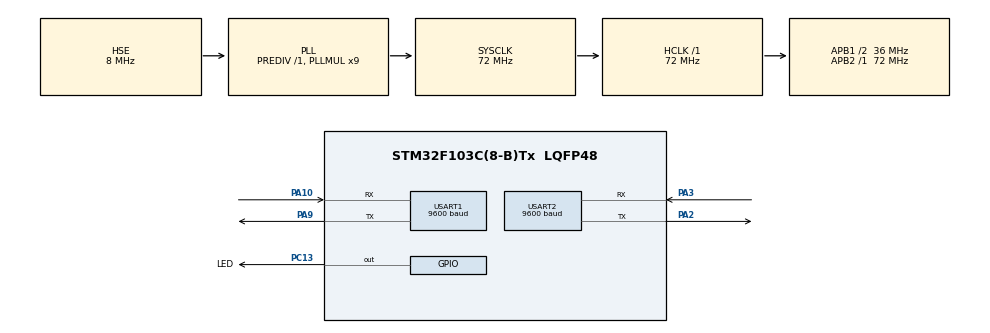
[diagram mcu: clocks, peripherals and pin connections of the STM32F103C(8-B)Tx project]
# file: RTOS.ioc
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FREERTOS.BinarySemaphores01=PasswordSemaphore,Dynamic,NULL
FREERTOS.Queues01=PasswordQueue,10,uint8_t,0,Dynamic,NULL,NULL
FREERTOS.Tasks01=Confirmation,27,128,Confirmation_T,Default,NULL,Dynamic,NULL,NULL;Display,10,128,Display_T,Default,NULL,Dynamic,NULL,NULL;Input,8,128,Input_T,Default,NULL,Dynamic,NULL,NULL
Mcu.Family=STM32F1
Mcu.Name=STM32F103C(8-B)Tx
Mcu.Package=LQFP48
NVIC.PriorityGroup=NVIC_PRIORITYGROUP_4
NVIC.TIM1_UP_IRQn=true\:15\:0\:false\:false\:true\:false\:false\:true\:true
NVIC.TimeBase=TIM1_UP_IRQn
NVIC.TimeBaseIP=TIM1
PA10.Mode=Asynchronous
PA10.Signal=USART1_RX
PA13.Mode=Serial_Wire
PA13.Signal=SYS_JTMS-SWDIO
PA14.Mode=Serial_Wire
PA14.Signal=SYS_JTCK-SWCLK
PA2.Mode=Asynchronous
PA2.Signal=USART2_TX
PA3.Mode=Asynchronous
PA3.Signal=USART2_RX
PA9.Mode=Asynchronous
PA9.Signal=USART1_TX
PC13-TAMPER-RTC.GPIO_Label=LED
PC13-TAMPER-RTC.Signal=GPIO_Output
PD0-OSC_IN.Mode=HSE-External-Oscillator
PD0-OSC_IN.Signal=RCC_OSC_IN
PD1-OSC_OUT.Mode=HSE-External-Oscillator
PD1-OSC_OUT.Signal=RCC_OSC_OUT
ProjectManager.HeapSize=0x200
ProjectManager.StackSize=0x400
ProjectManager.TargetToolchain=STM32CubeIDE
RCC.AHBFreq_Value=72000000
RCC.APB1CLKDivider=RCC_HCLK_DIV2
RCC.APB1Freq_Value=36000000
RCC.APB1TimFreq_Value=72000000
RCC.APB2Freq_Value=72000000
RCC.APB2TimFreq_Value=72000000
RCC.HCLKFreq_Value=72000000
RCC.PLLMUL=RCC_PLL_MUL9
RCC.PLLSourceVirtual=RCC_PLLSOURCE_HSE
RCC.SYSCLKFreq_VALUE=72000000
RCC.SYSCLKSource=RCC_SYSCLKSOURCE_PLLCLK
RCC.USBFreq_Value=72000000
USART1.BaudRate=9600
USART1.VirtualMode=VM_ASYNC
USART2.BaudRate=9600
USART2.VirtualMode=VM_ASYNC
VP_FREERTOS_VS_CMSIS_V2.Mode=CMSIS_V2
VP_SYS_VS_tim1.Mode=TIM1
board=custom

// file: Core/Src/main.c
/* USER CODE BEGIN Header */
/**
  ******************************************************************************
  * @file           : main.c
  * @brief          : Main program body
  ******************************************************************************
  * @attention
  *
  * Copyright (c) 2024 STMicroelectronics.
  * All rights reserved.
  *
  * This software is licensed under terms that can be found in the LICENSE file
  * in the root directory of this software component.
  * If no LICENSE file comes with this software, it is provided AS-IS.
  *
  ******************************************************************************
  */
/* USER CODE END Header */
#include "main.h"
#include "cmsis_os.h"
#include "usart.h"
#include "gpio.h"

void SystemClock_Config(void);
void MX_FREERTOS_Init(void);

int main(void)
{

  /* MCU Configuration--------------------------------------------------------*/

  /* Reset of all peripherals, Initializes the Flash interface and the Systick. */
  HAL_Init();

  /* Configure the system clock */
  SystemClock_Config();

  /* Initialize all configured peripherals */
  MX_GPIO_Init();
  MX_USART1_UART_Init();
  MX_USART2_UART_Init();

  /* Init scheduler */
  osKernelInitialize();

  /* Call init function for freertos objects (in cmsis_os2.c) */
  MX_FREERTOS_Init();

  /* Start scheduler */
  osKernelStart();

  /* We should never get here as control is now taken by the scheduler */

  /* Infinite loop */
  while (1)
  {

  }
}

void SystemClock_Config(void)
{
  RCC_OscInitTypeDef RCC_OscInitStruct = {0};
  RCC_ClkInitTypeDef RCC_ClkInitStruct = {0};

  /** Initializes the RCC Oscillators according to the specified parameters
  * in the RCC_OscInitTypeDef structure.
  */
  RCC_OscInitStruct.OscillatorType = RCC_OSCILLATORTYPE_HSE;
  RCC_OscInitStruct.HSEState = RCC_HSE_ON;
  RCC_OscInitStruct.HSEPredivValue = RCC_HSE_PREDIV_DIV1;
  RCC_OscInitStruct.HSIState = RCC_HSI_ON;
  RCC_OscInitStruct.PLL.PLLState = RCC_PLL_ON;
  RCC_OscInitStruct.PLL.PLLSource = RCC_PLLSOURCE_HSE;
  RCC_OscInitStruct.PLL.PLLMUL = RCC_PLL_MUL9;
  if (HAL_RCC_OscConfig(&RCC_OscInitStruct) != HAL_OK)
  {
    Error_Handler();
  }

  /** Initializes the CPU, AHB and APB buses clocks
  */
  RCC_ClkInitStruct.ClockType = RCC_CLOCKTYPE_HCLK|RCC_CLOCKTYPE_SYSCLK
                              |RCC_CLOCKTYPE_PCLK1|RCC_CLOCKTYPE_PCLK2;
  RCC_ClkInitStruct.SYSCLKSource = RCC_SYSCLKSOURCE_PLLCLK;
  RCC_ClkInitStruct.AHBCLKDivider = RCC_SYSCLK_DIV1;
  RCC_ClkInitStruct.APB1CLKDivider = RCC_HCLK_DIV2;
  RCC_ClkInitStruct.APB2CLKDivider = RCC_HCLK_DIV1;

  if (HAL_RCC_ClockConfig(&RCC_ClkInitStruct, FLASH_LATENCY_2) != HAL_OK)
  {
    Error_Handler();
  }
}

void HAL_TIM_PeriodElapsedCallback(TIM_HandleTypeDef *htim)
{
  if (htim->Instance == TIM1) {
    HAL_IncTick();
  }
}

void Error_Handler(void)
{
  __disable_irq();
  while (1)
  {
  }
}

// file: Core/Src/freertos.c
/* USER CODE BEGIN Header */
/**
 ******************************************************************************
 * File Name          : freertos.c
 * Description        : Code for freertos applications
 ******************************************************************************
 * @attention
 *
 * Copyright (c) 2024 STMicroelectronics.
 * All rights reserved.
 *
 * This software is licensed under terms that can be found in the LICENSE file
 * in the root directory of this software component.
 * If no LICENSE file comes with this software, it is provided AS-IS.
 *
 ******************************************************************************
 */
/* USER CODE END Header */

#include "FreeRTOS.h"
#include "task.h"
#include "main.h"
#include "cmsis_os.h"

/* USER CODE BEGIN Includes */
#include <string.h>
#include <stdio.h>
#include "semphr.h"
#include "queue.h"
/* USER CODE END Includes */

/* USER CODE BEGIN PM */
#define BLOCKING_CHANCES 4
/* USER CODE END PM */

/* USER CODE BEGIN Variables */
/*input password*/
static uint8_t Password_In[10] = {0};
/*saved password*/
static uint8_t Password_Ch[] = "123456789";
/*enum for state machine*/
typedef enum
{
  welcome,
  receive,
  submit
} DisplayState_t;

uint8_t BlockFlag = 0;

/* USER CODE END Variables */
/* Definitions for Confirmation */
osThreadId_t ConfirmationHandle;
const osThreadAttr_t Confirmation_attributes = {
  .name = "Confirmation",
  .stack_size = 128 * 4,
  .priority = (osPriority_t) osPriorityNormal3,
};
/* Definitions for Display */
osThreadId_t DisplayHandle;
const osThreadAttr_t Display_attributes = {
  .name = "Display",
  .stack_size = 128 * 4,
  .priority = (osPriority_t) osPriorityLow2,
};
/* Definitions for Input */
osThreadId_t InputHandle;
const osThreadAttr_t Input_attributes = {
  .name = "Input",
  .stack_size = 128 * 4,
  .priority = (osPriority_t) osPriorityLow,
};
/* Definitions for PasswordQueue */
osMessageQueueId_t PasswordQueueHandle;
const osMessageQueueAttr_t PasswordQueue_attributes = {
  .name = "PasswordQueue"
};
/* Definitions for PasswordSemaphore */
osSemaphoreId_t PasswordSemaphoreHandle;
const osSemaphoreAttr_t PasswordSemaphore_attributes = {
  .name = "PasswordSemaphore"
};

void Confirmation_T(void *argument);
void Display_T(void *argument);
void Input_T(void *argument);

void MX_FREERTOS_Init(void); /* (MISRA C 2004 rule 8.1) */

void MX_FREERTOS_Init(void) {

  /* Create the semaphores(s) */
  /* creation of PasswordSemaphore */
  PasswordSemaphoreHandle = osSemaphoreNew(1, 0, &PasswordSemaphore_attributes);

  /* Create the queue(s) */
  /* creation of PasswordQueue */
  PasswordQueueHandle = osMessageQueueNew (10, sizeof(uint8_t), &PasswordQueue_attributes);

  /* Create the thread(s) */
  /* creation of Confirmation */
  ConfirmationHandle = osThreadNew(Confirmation_T, NULL, &Confirmation_attributes);

  /* creation of Display */
  DisplayHandle = osThreadNew(Display_T, NULL, &Display_attributes);

  /* creation of Input */
  InputHandle = osThreadNew(Input_T, NULL, &Input_attributes);

}

void Confirmation_T(void *argument)
{
  /* USER CODE BEGIN Confirmation_T */
  uint8_t reenterCount = 0;
  xSemaphoreTake(PasswordSemaphoreHandle, 1000);
  // HAL_UART_Transmit(&huart1, (uint8_t *)"check ok\r\n", 11, 200);
  /* Infinite loop */
  for (;;)
  {
    xSemaphoreTake(PasswordSemaphoreHandle, HAL_MAX_DELAY);
    if (strcmp((char *)Password_Ch, (char *)Password_In) == 0)
    {
      HAL_UART_Transmit(&huart1, (uint8_t *)"Access granted\t LED ON \r\n", 27, 300);
      HAL_GPIO_WritePin(LED_GPIO_Port, LED_Pin, RESET);
      reenterCount = 0;
    }
    else
    {
      if(BlockFlag == 0)
      {
        reenterCount++;
        HAL_UART_Transmit(&huart1, (uint8_t *)"Access denied\t LED OFF\r\n", 24, 250);
        HAL_GPIO_WritePin(LED_GPIO_Port, LED_Pin, SET);
        if (reenterCount == BLOCKING_CHANCES)
        {
          HAL_UART_Transmit(&huart1, (uint8_t *)"you are blocked\r\n", 18, 300);
          BlockFlag = 1;
          reenterCount =0;
      }
      }

    }
  }
  /* USER CODE END Confirmation_T */
}

void Display_T(void *argument)
{
  /* USER CODE BEGIN Display_T */
  DisplayState_t CurrentState = welcome;
  osStatus queueState = pdFALSE;
  uint8_t inputKey = 0;
  uint8_t passwordIndex = 0;
  // HAL_UART_Transmit(&huart1, (uint8_t *)"Display start\r\n", 16, 200);
  /* Infinite loop */
  for (;;)
  {
    queueState = xQueueReceive(PasswordQueueHandle, &inputKey, 5000);
    if (queueState == pdPASS)
    {
      switch (CurrentState)
      {
      case welcome:
        if (inputKey == '#')
        {
          CurrentState = receive;
          HAL_UART_Transmit(&huart1, (void *)"\r\nPassword:\t", 13, 200);
        }
        break;
      case receive:
        if (inputKey == '#')
        {
          CurrentState = submit;
        }
        else
        {
          if (passwordIndex < 9)
          {
            Password_In[passwordIndex] = inputKey;
            passwordIndex++;
            HAL_UART_Transmit(&huart1, (uint8_t *)"*", 2, 100);
            if(passwordIndex == 9)
            {
              CurrentState = submit;
              HAL_UART_Transmit(&huart1, (uint8_t *)"\r\nPress # to confirm \r\n", 24, 500);

            }
          }
          else{}
        }
        break;
      case submit:                         /*the case to restart the input and test for access */
        Password_In[passwordIndex] = '\0'; /*add null to the string*/
        passwordIndex = 0;
        CurrentState = welcome;
        /*release the semaphore to fire the confirmation task*/
        xSemaphoreGive(PasswordSemaphoreHandle);
        if(BlockFlag == 0)
        {
         HAL_UART_Transmit(&huart1, (uint8_t *)"\r\n*** welcome *** press # to enter the password\r\n", 50, 500);
        }
        break;
      default:
        break;
      }
    }
    else if (passwordIndex > 0)
    {
      /*time out*/
        Password_In[passwordIndex] = '\0'; /*add null to the string*/
        passwordIndex = 0;
        CurrentState = welcome;
        /*release the semaphore to fire the confirmation task*/
        xSemaphoreGive(PasswordSemaphoreHandle);
        if(BlockFlag == 0)
        {
         HAL_UART_Transmit(&huart1, (uint8_t *)"\r\n*** welcome *** press # to enter the password\r\n", 50, 500);
        }
    }
  }
  /* USER CODE END Display_T */
}

void Input_T(void *argument)
{
  /* USER CODE BEGIN Input_T */
  HAL_GPIO_WritePin(LED_GPIO_Port,LED_Pin,SET);
  uint8_t inputKey = 0;
  uint8_t uartReturnState = HAL_BUSY;
  HAL_UART_Transmit(&huart1, (uint8_t *)"\r\n*** welcome *** press # to enter the password\r\n", 50, 500);
  /* Infinite loop */
  for (;;)
  {
    uartReturnState = HAL_UART_Receive(&huart2, &inputKey, 1, 5000);
    if( uartReturnState == HAL_OK   )
    {
      if (BlockFlag == 0)
      {
        xQueueSend(PasswordQueueHandle, (void *)&inputKey, 0); /*message send to queue*/
        osDelay(50);                                           /*the 50 ms is min value for human i/p*/
      }
      else
      {
        HAL_UART_Transmit(&huart1, (uint8_t *)"you are blocked\r\n", 18, 200);
      }
    }

  }
  /* USER CODE END Input_T */
}
